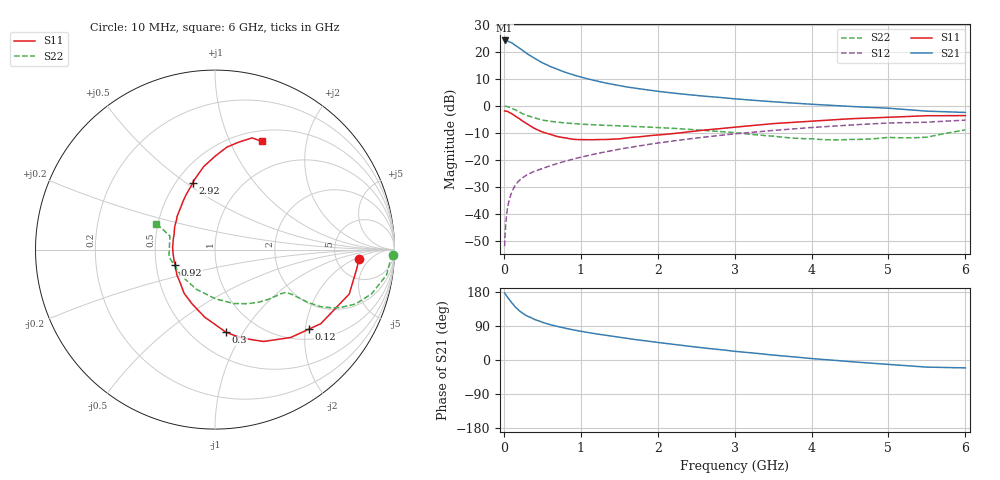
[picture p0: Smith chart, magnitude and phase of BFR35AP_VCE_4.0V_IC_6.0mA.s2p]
! Infineon Technologies  Discrete & RF Semiconductors
! BFR35AP
! VCE =  4.0 V,  IC =  6.0 mA
! Common Emitter S-Parameters:  Nov 2015
# GHz  S  MA  R  50
!  f  S11  S21  S12  S22
! GHz  MAG  ANG  MAG  ANG  MAG  ANG  MAG  ANG
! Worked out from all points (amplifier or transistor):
!   210 points, 10 MHz to 6 GHz, reference 50 ohm
!   highest |S21| = 24.2 dB at 10 MHz (marker M1)
!   |S21| within 3 dB of that: start of sweep to 211.4 MHz
!   unconditionally stable (mu >= 1): 752 MHz to 3.402 GHz
!   at 185 MHz: K = 0.42, MSG = 24.9 dB, |S12| = -28.2 dB
!   at 1.52 GHz: K = 1.12, MAG = 9.6 dB, |S12| = -16.0 dB
!   at 6 GHz: K = 0.95, MSG = 1.4 dB, |S12| = -5.3 dB
!   S11 on the Smith chart (normalised r, x): 10 MHz: 8.44, -2.47; 120 MHz: 1.25, -2.09; 300 MHz: 0.72, -0.84; 920 MHz: 0.63, -0.12; 2.92 GHz: 0.60, +0.53; 6 GHz: 0.62, +1.33
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0.01  0.8033 -3.7  16.25 176.9  0.0025 88.5  0.9916 -1.7
0.02  0.7974 -7.5  15.94 173.6  0.0051 83.8  0.9794 -3.4
0.05  0.7878 -18.3  15.84 165.1  0.0134 80.4  0.9662 -8.4
0.1  0.7197 -35.0  14.8 151.6  0.0245 73.4  0.9064 -15.8
0.12  0.6855 -40.3  14.08 147.1  0.0283 70.1  0.8786 -17.9
0.15  0.6465 -49.2  13.18 139.6  0.0342 66.6  0.8392 -21.2
0.2  0.5793 -62.1  11.84 130.1  0.0412 62.9  0.7686 -24.9
0.24  0.5255 -70.9  10.71 124.0  0.0458 60.9  0.7195 -26.7
0.3  0.4652 -82.3  9.28 116.3  0.0524 58.7  0.6624 -28.5
0.4  0.3805 -98.7  7.571 107.0  0.0611 57.6  0.5934 -29.6
0.5  0.328 -113.0  6.278 99.2  0.0684 57.9  0.5434 -29.9
0.6  0.298 -125.3  5.379 93.4  0.0772 58.4  0.5151 -30.1
0.7  0.2681 -136.3  4.695 88.2  0.0857 58.9  0.4966 -30.2
0.92  0.2382 -158.6  3.678 78.9  0.1046 59.8  0.4654 -31.1
1.02  0.2352 -168.2  3.359 75.1  0.1129 60.0  0.455 -31.9
1.4  0.2403 164.8  2.518 62.9  0.1471 59.4  0.4306 -36.2
2.02  0.2889 134.9  1.842 45.8  0.2059 55.7  0.3931 -46.4
2.92  0.3909 108.7  1.38 24.9  0.294 47.2  0.3238 -68.2
3.1  0.4135 105.1  1.311 21.1  0.311 45.0  0.3071 -74.1
4.1  0.5308 88.5  1.048 2.3  0.4041 32.9  0.2382 -120.8
5.1  0.6201 76.4  0.88 -13.1  0.4823 19.0  0.2562 -176.3
6  0.657 66.6  0.753 -20.8  0.5427 8.6  0.3572 156.0
